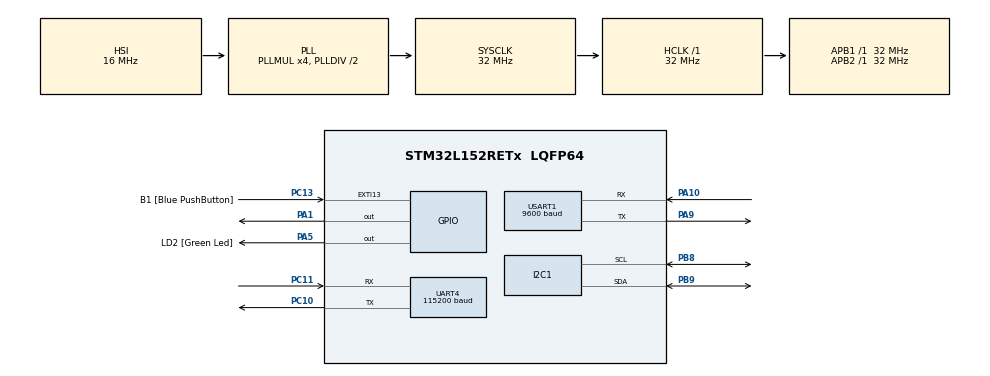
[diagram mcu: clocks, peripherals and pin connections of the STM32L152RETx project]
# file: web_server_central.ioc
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Dma.Request0=UART4_RX
Dma.UART4_RX.0.Direction=DMA_PERIPH_TO_MEMORY
Dma.UART4_RX.0.Instance=DMA2_Channel3
Dma.UART4_RX.0.MemDataAlignment=DMA_MDATAALIGN_BYTE
Dma.UART4_RX.0.MemInc=DMA_MINC_ENABLE
Dma.UART4_RX.0.Mode=DMA_NORMAL
Dma.UART4_RX.0.PeriphDataAlignment=DMA_PDATAALIGN_BYTE
Dma.UART4_RX.0.PeriphInc=DMA_PINC_DISABLE
Dma.UART4_RX.0.Priority=DMA_PRIORITY_LOW
Mcu.Family=STM32L1
Mcu.Name=STM32L152RETx
Mcu.Package=LQFP64
NVIC.DMA2_Channel3_IRQn=true\:0\:0\:false\:false\:true\:false\:true\:true
NVIC.PriorityGroup=NVIC_PRIORITYGROUP_0
NVIC.UART4_IRQn=true\:0\:0\:false\:false\:true\:true\:true\:true
PA1.PinState=GPIO_PIN_SET
PA1.Signal=GPIO_Output
PA10.Mode=Asynchronous
PA10.Signal=USART1_RX
PA13.GPIO_Label=TMS
PA13.Mode=Serial_Wire
PA13.Signal=SYS_JTMS-SWDIO
PA14.GPIO_Label=TCK
PA14.Mode=Serial_Wire
PA14.Signal=SYS_JTCK-SWCLK
PA5.GPIO_Label=LD2 [Green Led]
PA5.Signal=GPIO_Output
PA9.Mode=Asynchronous
PA9.Signal=USART1_TX
PB3.GPIO_Label=SWO
PB3.Signal=SYS_JTDO-TRACESWO
PB8.GPIO_Pu=GPIO_NOPULL
PB8.Mode=I2C
PB8.Signal=I2C1_SCL
PB9.GPIO_Pu=GPIO_NOPULL
PB9.Mode=I2C
PB9.Signal=I2C1_SDA
PC10.Mode=Asynchronous
PC10.Signal=UART4_TX
PC11.Mode=Asynchronous
PC11.Signal=UART4_RX
PC13-WKUP2.GPIO_Label=B1 [Blue PushButton]
PC13-WKUP2.Signal=GPXTI13
PC14-OSC32_IN.Mode=LSE-External-Oscillator
PC14-OSC32_IN.Signal=RCC_OSC32_IN
PC15-OSC32_OUT.Mode=LSE-External-Oscillator
PC15-OSC32_OUT.Signal=RCC_OSC32_OUT
PH0-OSC_IN.Mode=HSE-External-Oscillator
PH0-OSC_IN.Signal=RCC_OSC_IN
PH1-OSC_OUT.Mode=HSE-External-Oscillator
PH1-OSC_OUT.Signal=RCC_OSC_OUT
ProjectManager.HeapSize=0x200
ProjectManager.StackSize=0x400
ProjectManager.TargetToolchain=STM32CubeIDE
RCC.48MHZClocksFreq_Value=32000000
RCC.AHBFreq_Value=32000000
RCC.APB1Freq_Value=32000000
RCC.APB1TimFreq_Value=32000000
RCC.APB2Freq_Value=32000000
RCC.APB2TimFreq_Value=32000000
RCC.HCLKFreq_Value=32000000
RCC.HSE_VALUE=8000000
RCC.HSI_VALUE=16000000
RCC.MSI_VALUE=2097000
RCC.PLLMUL=RCC_PLL_MUL4
RCC.RTCClockSelectionVirtual=RCC_RTCCLKSOURCE_LSE
RCC.SYSCLKFreq_VALUE=32000000
RCC.SYSCLKSource=RCC_SYSCLKSOURCE_PLLCLK
RCC.VCOOutputFreq_Value=64000000
TIM2.Period=0xffff-1
TIM2.Prescaler=32-1
UART4.BaudRate=115200
UART4.VirtualMode=Asynchronous
USART1.BaudRate=9600
USART1.VirtualMode=VM_ASYNC
VP_TIM2_VS_ClockSourceINT.Mode=Internal
board=NUCLEO-L152RE

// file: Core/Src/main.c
/* USER CODE BEGIN Header */
/**
  ******************************************************************************
  * @file           : main.c
  * @brief          : Main program body
  ******************************************************************************
  * @attention
  *
  * Copyright (c) 2022 STMicroelectronics.
  * All rights reserved.
  *
  * This software is licensed under terms that can be found in the LICENSE file
  * in the root directory of this software component.
  * If no LICENSE file comes with this software, it is provided AS-IS.
  *
  ******************************************************************************
  */
/* USER CODE END Header */
#include "main.h"
#include "dma.h"
#include "i2c.h"
#include "tim.h"
#include "usart.h"
#include "gpio.h"

/* USER CODE BEGIN Includes */

#include "lib_lcd.h"
#include "DHT22.h"
#include "irq.h"
/* USER CODE END Includes */

/* USER CODE BEGIN PD */
#define DHT22_PORT GPIOA
#define DHT22_PIN GPIO_PIN_1
/* USER CODE END PD */

/* USER CODE BEGIN PV */

DMA_HandleTypeDef hdma_usart4_rx;

rgb_lcd rgbData;

static struct DHT22 DHT22_1;
static uint8_t DMA_BUFFER[DMA_SIZE + 1] 				= "";
static uint8_t dma_temp[DMA_SIZE + 1] 					= "";
static uint8_t device_ID[] 								= "000";

static enum STATE        fsm_state;

/* USER CODE END PV */

void SystemClock_Config(void);
/* USER CODE BEGIN PFP */

void HAL_UART_RxCpltCallback(UART_HandleTypeDef *huart)
{
	set_dma_irq(1);
	memcpy(dma_temp,DMA_BUFFER,DMA_SIZE);
	memset(DMA_BUFFER,0,DMA_SIZE);
    HAL_UART_Receive_DMA(&huart4, DMA_BUFFER, DMA_SIZE);
}

/* USER CODE END PFP */

int main(void)
{
  /* USER CODE BEGIN 1 */
   char *strToken					= NULL;

  uint8_t data_extract_temp[MAX_DATA_SEND  + 1] 	= "";
  uint8_t send_buffer[MAX_DATA_SEND  + 1] 			= "";
  uint8_t extract_data 								= 0;
  uint8_t temp[128] 								= "";
  uint8_t get_try 									= 0;
  uint8_t data_ok 									= 0;
  uint8_t lenght 									= 0;

  /* USER CODE END 1 */

  /* MCU Configuration--------------------------------------------------------*/

  /* Reset of all peripherals, Initializes the Flash interface and the Systick. */
  HAL_Init();

  /* Configure the system clock */
  SystemClock_Config();

  /* Initialize all configured peripherals */
  MX_GPIO_Init();
  MX_I2C1_Init();
  MX_TIM2_Init();
  MX_USART1_UART_Init();
  MX_DMA_Init();
  MX_UART4_Init();
  /* USER CODE BEGIN 2 */

  /*Timer init*/
  HAL_TIM_Base_Start(&htim2);

  /*DHT22 init*/
  DHT22_Init(&DHT22_1, DHT22_PORT, DHT22_PIN);

  /*Activate DMA on UART4*/

  HAL_UART_Receive_DMA(&huart4, DMA_BUFFER, DMA_SIZE);

  /*First sequence of LCD*/
  lcd_init(&hi2c1, &rgbData);
  HAL_Delay(100);
  clearlcd();
  HAL_Delay(100);
  lcd_position(&hi2c1,0,0);
  HAL_Delay(10);
  lcd_print(&hi2c1,"Starting...");

  /* USER CODE END 2 */

  /* Infinite loop */
  /* USER CODE BEGIN WHILE */
  while (1)
  {
	  switch (fsm_state)
	  {

	  	  	  /************************************/
	          /*				IDLE			  */
	          /************************************/
	          case ST_IDLE:

				 memset(send_buffer,0, sizeof(send_buffer));
  				 memset(temp,0,sizeof(temp));
			     fsm_state = ST_CHECK_DMA;
	        	 break;

			 /***********************************/
			 /*				SEND DATA			*/
			 /***********************************/
			 case ST_CHECK_DMA:

				//attente d'interruption DMA
				 if(get_dma_irq() == 1)
				 {
					    set_dma_irq(0);

						strToken = strtok((char*) dma_temp,"$");

						//Extraction des données DMA
						while (( strToken != NULL) && (extract_data<DMA_MAX_DATA))
						{

							lenght = strlen(strToken);

							if (lenght > DATA_SIZE)
							{
								lenght = DATA_SIZE;
							}
							if (lenght == DATA_SIZE)
							{
								memset(data_extract_temp,0,sizeof(data_extract_temp));
								strcat((char *)data_extract_temp,"$");

					        	memset(temp,0, sizeof(temp));
					        	memcpy(temp,strToken,lenght-2);
								strcat((char *)data_extract_temp,(char *)temp);

								strToken = strtok( NULL, "$" );
								extract_data++;
							}
							else
							{
								strToken = strtok( NULL, "$" );
								extract_data++;
							}
						}

			    	  fsm_state = ST_GET_DATA;
			          break;
				 }
				 else
				 {
					 HAL_Delay(2000);
			    	 fsm_state = ST_CHECK_DMA;
			         break;
				 }

		          /***********************************/
			      /*				GET_DATA			*/
			      /***********************************/
			       case ST_GET_DATA:

		   			  get_try = 0;
		   			  data_ok = 0;

					   //Prise de données du capteur
			    	   while((get_try < 3 ) && (data_ok == 0))
			    	   {

				    	   if(DHT22_Start(&DHT22_1) == 0)
				    	   	  {
				    	   		  if( DHT22_Check_Response(&DHT22_1)== 0)
				    	   		  {
				    	   			  if(DHT22_Read_Temp_Hum(&DHT22_1) == 0)
				    	   			  {
				    	   				  clearlcd();

				    	   				  lcd_position(&hi2c1,0,0);

				    	   				  memset(temp,0,sizeof(temp));
				    	   				  sprintf((char*)temp,"Hum: %.2f %c ",DHT22_1.humidity, 0x25);
				    	   				  lcd_print(&hi2c1,(char*)temp);

				    	   				  lcd_position(&hi2c1,0,1);

				    	   				  memset(temp,0,sizeof(temp));
				    	   				  sprintf((char*)temp,"Temp: %.2fC  ",DHT22_1.temperature);
				    	   				  lcd_print(&hi2c1,(char*)temp);

				    	   				  get_try = 0;
				    	   				  data_ok = 1;
				    	   			  }
				    	   			  else
				    	   			  {
						    	   		HAL_Delay(1000);
				    	   				get_try++;
				    	   			  }

				    	   		  }
				    	   		  else
				    	   		  {
					    	   		    HAL_Delay(1000);
				    	   				get_try++;
				    	   		  }

				    	   	  }
				    	   	  else
				    	   	  {
				    	   		    HAL_Delay(1000);
			    	   				get_try++;
				    	   	  }
			    	   }

				      fsm_state = ST_SEND_DATA;
			          break;

			 /***********************************/
			 /*				SEND DATA			*/
			 /***********************************/
			 case ST_SEND_DATA:

				 //Formatage et envoi du paquet de données à l'arduino
	        	 strcat((char *)send_buffer,"$");

	        	 memset(temp,0, sizeof(temp));
	        	 sprintf((char *)temp,"&i=%s", device_ID);
	        	 strcat((char *)send_buffer,(char *)temp);

	        	// strcat((char *)send_buffer,"&u=0");

	        	 memset(temp,0, sizeof(temp));
	        	 sprintf((char *)temp,"&t=%.2f", DHT22_1.temperature);
	        	 strcat((char *)send_buffer,(char *)temp);

	        	 memset(temp,0, sizeof(temp));
	        	 sprintf((char *)temp,"&h=%.2f", DHT22_1.humidity);
	        	 strcat((char *)send_buffer,(char *)temp);

	        	 strcat((char *)send_buffer,(char *)data_extract_temp);

	        	 strcat((char *)send_buffer,"\r\n");

				 HAL_UART_Transmit(&huart1,(uint8_t*)send_buffer, strlen((char *)send_buffer), 500);

				 fsm_state = ST_IDLE;
			     break;

			 /***********************************/
			 /*				default       		*/
			 /***********************************/
			 default:

				  Error_Handler();
		          break;

	}
    /* USER CODE END WHILE */

  }
}

void SystemClock_Config(void)
{
  RCC_OscInitTypeDef RCC_OscInitStruct = {0};
  RCC_ClkInitTypeDef RCC_ClkInitStruct = {0};

  /** Configure the main internal regulator output voltage
  */
  __HAL_PWR_VOLTAGESCALING_CONFIG(PWR_REGULATOR_VOLTAGE_SCALE1);

  /** Initializes the RCC Oscillators according to the specified parameters
  * in the RCC_OscInitTypeDef structure.
  */
  RCC_OscInitStruct.OscillatorType = RCC_OSCILLATORTYPE_HSI;
  RCC_OscInitStruct.HSIState = RCC_HSI_ON;
  RCC_OscInitStruct.HSICalibrationValue = RCC_HSICALIBRATION_DEFAULT;
  RCC_OscInitStruct.PLL.PLLState = RCC_PLL_ON;
  RCC_OscInitStruct.PLL.PLLSource = RCC_PLLSOURCE_HSI;
  RCC_OscInitStruct.PLL.PLLMUL = RCC_PLL_MUL4;
  RCC_OscInitStruct.PLL.PLLDIV = RCC_PLL_DIV2;
  if (HAL_RCC_OscConfig(&RCC_OscInitStruct) != HAL_OK)
  {
    Error_Handler();
  }

  /** Initializes the CPU, AHB and APB buses clocks
  */
  RCC_ClkInitStruct.ClockType = RCC_CLOCKTYPE_HCLK|RCC_CLOCKTYPE_SYSCLK
                              |RCC_CLOCKTYPE_PCLK1|RCC_CLOCKTYPE_PCLK2;
  RCC_ClkInitStruct.SYSCLKSource = RCC_SYSCLKSOURCE_PLLCLK;
  RCC_ClkInitStruct.AHBCLKDivider = RCC_SYSCLK_DIV1;
  RCC_ClkInitStruct.APB1CLKDivider = RCC_HCLK_DIV1;
  RCC_ClkInitStruct.APB2CLKDivider = RCC_HCLK_DIV1;

  if (HAL_RCC_ClockConfig(&RCC_ClkInitStruct, FLASH_LATENCY_1) != HAL_OK)
  {
    Error_Handler();
  }
}

void Error_Handler(void)
{
  __disable_irq();
  while (1)
  {
  }
}
